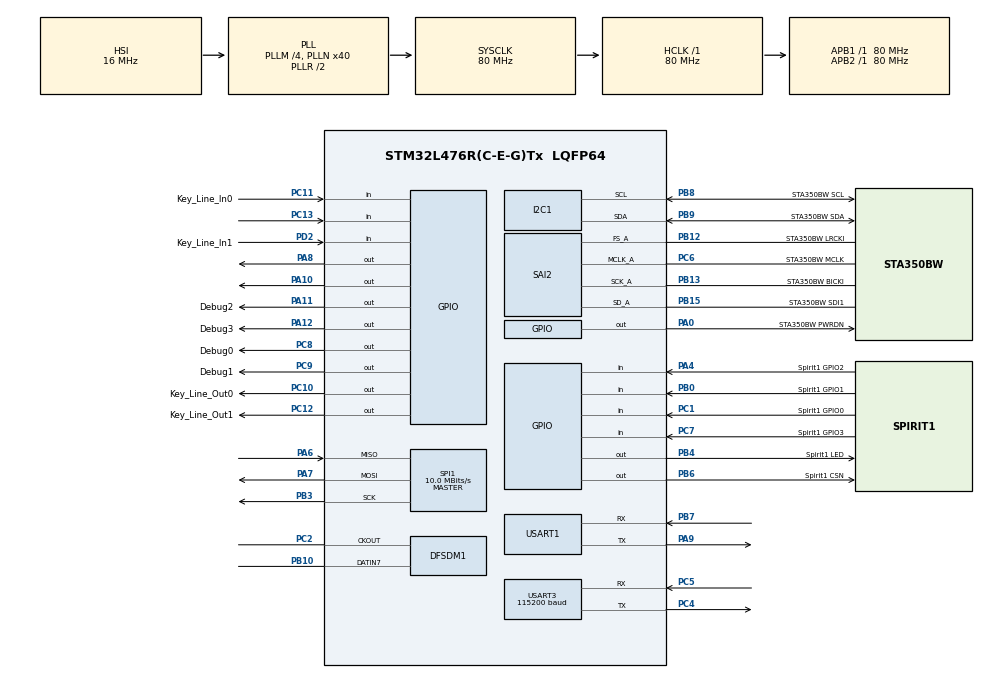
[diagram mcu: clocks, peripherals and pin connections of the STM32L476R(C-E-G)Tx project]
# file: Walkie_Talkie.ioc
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DFSDM1.Divider=24
DFSDM1.DmaMode_reg_FIL0=ENABLE
DFSDM1.DmaMode_reg_FIL1=ENABLE
DFSDM1.FastMode_reg_FIL0=ENABLE
DFSDM1.FastMode_reg_FIL1=ENABLE
DFSDM1.FilterOrder_CH6=DFSDM_CHANNEL_SINC1_ORDER
DFSDM1.FilterOrder_CH7=DFSDM_CHANNEL_SINC1_ORDER
DFSDM1.Filter_injChannel7_FIL3=__NULL
DFSDM1.Filter_regChannel_FIL0=DFSDM_CHANNEL_6
DFSDM1.Filter_regChannel_FIL1=DFSDM_CHANNEL_7
DFSDM1.Filter_regChannel_FIL2=__NULL
DFSDM1.Filter_regChannel_FIL3=__NULL
DFSDM1.Fosr_FIL0=22
DFSDM1.Fosr_FIL1=22
DFSDM1.Iosr_FIL0=3
DFSDM1.Iosr_FIL1=3
DFSDM1.Oversampling_CH6=10
DFSDM1.Oversampling_CH7=10
DFSDM1.RightBitShift_CH6=0
DFSDM1.RightBitShift_CH7=0
DFSDM1.SincOrder_FIL0=DFSDM_FILTER_SINC5_ORDER
DFSDM1.SincOrder_FIL1=DFSDM_FILTER_SINC5_ORDER
DFSDM1.Type_spi_CH7=DFSDM_CHANNEL_SPI_FALLING
Dma.DFSDM1_FLT0.0.Direction=DMA_PERIPH_TO_MEMORY
Dma.DFSDM1_FLT0.0.Instance=DMA1_Channel4
Dma.DFSDM1_FLT0.0.MemDataAlignment=DMA_MDATAALIGN_WORD
Dma.DFSDM1_FLT0.0.MemInc=DMA_MINC_ENABLE
Dma.DFSDM1_FLT0.0.Mode=DMA_CIRCULAR
Dma.DFSDM1_FLT0.0.PeriphDataAlignment=DMA_PDATAALIGN_WORD
Dma.DFSDM1_FLT0.0.PeriphInc=DMA_PINC_DISABLE
Dma.DFSDM1_FLT0.0.Priority=DMA_PRIORITY_MEDIUM
Dma.DFSDM1_FLT1.1.Direction=DMA_PERIPH_TO_MEMORY
Dma.DFSDM1_FLT1.1.Instance=DMA1_Channel5
Dma.DFSDM1_FLT1.1.MemDataAlignment=DMA_MDATAALIGN_WORD
Dma.DFSDM1_FLT1.1.MemInc=DMA_MINC_ENABLE
Dma.DFSDM1_FLT1.1.Mode=DMA_CIRCULAR
Dma.DFSDM1_FLT1.1.PeriphDataAlignment=DMA_PDATAALIGN_WORD
Dma.DFSDM1_FLT1.1.PeriphInc=DMA_PINC_DISABLE
Dma.DFSDM1_FLT1.1.Priority=DMA_PRIORITY_MEDIUM
Dma.Request0=DFSDM1_FLT0
Dma.Request1=DFSDM1_FLT1
Dma.Request2=SPI1_RX
Dma.Request3=SPI1_TX
Dma.Request4=USART3_RX
Dma.Request5=USART3_TX
Dma.Request6=USART1_RX
Dma.Request7=USART1_TX
Dma.Request8=SAI2_A
Dma.SAI2_A.8.Direction=DMA_MEMORY_TO_PERIPH
Dma.SAI2_A.8.Instance=DMA1_Channel6
Dma.SAI2_A.8.MemDataAlignment=DMA_MDATAALIGN_HALFWORD
Dma.SAI2_A.8.MemInc=DMA_MINC_ENABLE
Dma.SAI2_A.8.Mode=DMA_CIRCULAR
Dma.SAI2_A.8.PeriphDataAlignment=DMA_PDATAALIGN_HALFWORD
Dma.SAI2_A.8.PeriphInc=DMA_PINC_DISABLE
Dma.SAI2_A.8.Priority=DMA_PRIORITY_MEDIUM
Dma.SPI1_RX.2.Direction=DMA_PERIPH_TO_MEMORY
Dma.SPI1_RX.2.Instance=DMA2_Channel3
Dma.SPI1_RX.2.MemDataAlignment=DMA_MDATAALIGN_BYTE
Dma.SPI1_RX.2.MemInc=DMA_MINC_ENABLE
Dma.SPI1_RX.2.Mode=DMA_CIRCULAR
Dma.SPI1_RX.2.PeriphDataAlignment=DMA_PDATAALIGN_BYTE
Dma.SPI1_RX.2.PeriphInc=DMA_PINC_DISABLE
Dma.SPI1_RX.2.Priority=DMA_PRIORITY_MEDIUM
Dma.SPI1_TX.3.Direction=DMA_MEMORY_TO_PERIPH
Dma.SPI1_TX.3.Instance=DMA2_Channel4
Dma.SPI1_TX.3.MemDataAlignment=DMA_MDATAALIGN_BYTE
Dma.SPI1_TX.3.MemInc=DMA_MINC_ENABLE
Dma.SPI1_TX.3.Mode=DMA_NORMAL
Dma.SPI1_TX.3.PeriphDataAlignment=DMA_PDATAALIGN_BYTE
Dma.SPI1_TX.3.PeriphInc=DMA_PINC_DISABLE
Dma.SPI1_TX.3.Priority=DMA_PRIORITY_LOW
Dma.USART1_RX.6.Direction=DMA_PERIPH_TO_MEMORY
Dma.USART1_RX.6.Instance=DMA2_Channel7
Dma.USART1_RX.6.MemDataAlignment=DMA_MDATAALIGN_BYTE
Dma.USART1_RX.6.MemInc=DMA_MINC_ENABLE
Dma.USART1_RX.6.Mode=DMA_CIRCULAR
Dma.USART1_RX.6.PeriphDataAlignment=DMA_PDATAALIGN_BYTE
Dma.USART1_RX.6.PeriphInc=DMA_PINC_DISABLE
Dma.USART1_RX.6.Priority=DMA_PRIORITY_MEDIUM
Dma.USART1_TX.7.Direction=DMA_MEMORY_TO_PERIPH
Dma.USART1_TX.7.Instance=DMA2_Channel6
Dma.USART1_TX.7.MemDataAlignment=DMA_MDATAALIGN_BYTE
Dma.USART1_TX.7.MemInc=DMA_MINC_ENABLE
Dma.USART1_TX.7.Mode=DMA_NORMAL
Dma.USART1_TX.7.PeriphDataAlignment=DMA_PDATAALIGN_BYTE
Dma.USART1_TX.7.PeriphInc=DMA_PINC_DISABLE
Dma.USART1_TX.7.Priority=DMA_PRIORITY_MEDIUM
Dma.USART3_RX.4.Direction=DMA_PERIPH_TO_MEMORY
Dma.USART3_RX.4.Instance=DMA1_Channel3
Dma.USART3_RX.4.MemDataAlignment=DMA_MDATAALIGN_BYTE
Dma.USART3_RX.4.MemInc=DMA_MINC_ENABLE
Dma.USART3_RX.4.Mode=DMA_NORMAL
Dma.USART3_RX.4.PeriphDataAlignment=DMA_PDATAALIGN_BYTE
Dma.USART3_RX.4.PeriphInc=DMA_PINC_DISABLE
Dma.USART3_RX.4.Priority=DMA_PRIORITY_LOW
Dma.USART3_TX.5.Direction=DMA_MEMORY_TO_PERIPH
Dma.USART3_TX.5.Instance=DMA1_Channel2
Dma.USART3_TX.5.MemDataAlignment=DMA_MDATAALIGN_BYTE
Dma.USART3_TX.5.MemInc=DMA_MINC_ENABLE
Dma.USART3_TX.5.Mode=DMA_NORMAL
Dma.USART3_TX.5.PeriphDataAlignment=DMA_PDATAALIGN_BYTE
Dma.USART3_TX.5.PeriphInc=DMA_PINC_DISABLE
Dma.USART3_TX.5.Priority=DMA_PRIORITY_LOW
I2C1.Timing=0x10909CEC
Mcu.Family=STM32L4
Mcu.Name=STM32L476R(C-E-G)Tx
Mcu.Package=LQFP64
NVIC.DMA1_Channel2_IRQn=true\:0\:0\:false\:false\:true
NVIC.DMA1_Channel3_IRQn=true\:0\:0\:false\:false\:true
NVIC.DMA1_Channel4_IRQn=true\:0\:0\:false\:false\:true
NVIC.DMA1_Channel5_IRQn=true\:0\:0\:false\:false\:true
NVIC.DMA1_Channel6_IRQn=true\:0\:0\:false\:false\:true
NVIC.DMA2_Channel3_IRQn=true\:0\:0\:false\:false\:true
NVIC.DMA2_Channel4_IRQn=true\:0\:0\:false\:false\:true
NVIC.DMA2_Channel6_IRQn=true\:0\:0\:false\:false\:true
NVIC.DMA2_Channel7_IRQn=true\:0\:0\:false\:false\:true
NVIC.PriorityGroup=NVIC_PRIORITYGROUP_4
NVIC.SAI2_IRQn=true\:0\:0\:false\:false\:true
NVIC.TIM2_IRQn=true\:0\:0\:false\:false\:true
NVIC.TIM6_DAC_IRQn=true\:0\:0\:false\:false\:true
NVIC.TIM7_IRQn=true\:0\:0\:false\:false\:true
NVIC.TIM8_UP_IRQn=true\:0\:0\:false\:false\:true
NVIC.USART1_IRQn=true\:0\:0\:false\:false\:true
NVIC.USART3_IRQn=true\:0\:0\:false\:false\:true
PA0.GPIO_Label=STA350BW PWRDN
PA0.Signal=GPIO_Output
PA10.Signal=GPIO_Output
PA11.GPIO_Label=Debug2
PA11.Signal=GPIO_Output
PA12.GPIO_Label=Debug3
PA12.Signal=GPIO_Output
PA13.Mode=Serial_Wire
PA13.Signal=SYS_JTMS-SWDIO
PA14.Mode=Serial_Wire
PA14.Signal=SYS_JTCK-SWCLK
PA4.GPIO_Label=Spirit1 GPIO2
PA4.Signal=GPIO_Input
PA6.Mode=Full_Duplex_Master
PA6.Signal=SPI1_MISO
PA7.Mode=Full_Duplex_Master
PA7.Signal=SPI1_MOSI
PA8.Signal=GPIO_Output
PA9.Mode=Asynchronous
PA9.Signal=USART1_TX
PB0.GPIO_Label=Spirit1 GPIO1
PB0.Signal=GPIO_Input
PB10.Signal=S_DATAIN7DFSDM1
PB12.GPIO_Label=STA350BW LRCKI
PB12.Mode=SAI_A_MasterWithClock
PB12.Signal=SAI2_FS_A
PB13.GPIO_Label=STA350BW BICKI
PB13.Mode=SAI_A_MasterWithClock
PB13.Signal=SAI2_SCK_A
PB15.GPIO_Label=STA350BW SDI1
PB15.Mode=SAI_A_MasterWithClock
PB15.Signal=SAI2_SD_A
PB3.Mode=Full_Duplex_Master
PB3.Signal=SPI1_SCK
PB4.GPIO_Label=Spirit1 LED
PB4.Signal=GPIO_Output
PB6.GPIO_Label=Spirit1 CSN
PB6.Signal=GPIO_Output
PB7.Mode=Asynchronous
PB7.Signal=USART1_RX
PB8.GPIO_Label=STA350BW SCL
PB8.Mode=I2C
PB8.Signal=I2C1_SCL
PB9.GPIO_Label=STA350BW SDA
PB9.Mode=I2C
PB9.Signal=I2C1_SDA
PC1.GPIO_Label=Spirit1 GPIO0
PC1.Signal=GPIO_Input
PC10.GPIO_Label=Key_Line_Out0
PC10.Signal=GPIO_Output
PC11.GPIO_Label=Key_Line_In0
PC11.GPIO_PuPd=GPIO_PULLUP
PC11.Signal=GPIO_Input
PC12.GPIO_Label=Key_Line_Out1
PC12.Signal=GPIO_Output
PC13.GPIO_PuPd=GPIO_PULLUP
PC13.Signal=GPIO_Input
PC2.Signal=S_CKOUTDFSDM1
PC4.Mode=Asynchronous
PC4.Signal=USART3_TX
PC5.Mode=Asynchronous
PC5.Signal=USART3_RX
PC6.GPIO_Label=STA350BW MCLK
PC6.Mode=SAI_A_MasterWithClock
PC6.Signal=SAI2_MCLK_A
PC7.GPIO_Label=Spirit1 GPIO3
PC7.Signal=GPIO_Input
PC8.GPIO_Label=Debug0
PC8.Signal=GPIO_Output
PC9.GPIO_Label=Debug1
PC9.Signal=GPIO_Output
PD2.GPIO_Label=Key_Line_In1
PD2.GPIO_PuPd=GPIO_PULLUP
PD2.Signal=GPIO_Input
ProjectManager.HeapSize=0x200
ProjectManager.StackSize=0x400
ProjectManager.TargetToolchain=EWARM
RCC.ADCFreq_Value=16000000
RCC.AHBFreq_Value=80000000
RCC.APB1Freq_Value=80000000
RCC.APB1TimFreq_Value=80000000
RCC.APB2Freq_Value=80000000
RCC.APB2TimFreq_Value=80000000
RCC.CortexFreq_Value=80000000
RCC.DFSDMCLockSelection=RCC_DFSDM1CLKSOURCE_SYSCLK
RCC.HCLKFreq_Value=80000000
RCC.HSE_VALUE=8000000
RCC.HSI_VALUE=16000000
RCC.LSE_VALUE=32768
RCC.MSI_VALUE=4000000
RCC.PLLM=4
RCC.PLLN=40
RCC.PLLSAI2N=86
RCC.PLLSourceVirtual=RCC_PLLSOURCE_HSI
RCC.SAI2CLockSelection=RCC_SAI2CLKSOURCE_PLLSAI2
RCC.SYSCLKFreq_VALUE=80000000
RCC.SYSCLKSource=RCC_SYSCLKSOURCE_PLLCLK
RCC.USBFreq_Value=16000000
RCC.VCOOutputFreq_Value=160000000
SAI2.AudioFrequency-SAI_A_MasterWithClock=SAI_AUDIO_FREQUENCY_48K
SAI2.ErrorAudioFreq-SAI_A_MasterWithClock=-0.01 %
SAI2.InitProtocol-SAI_A_MasterWithClock=Enable
SAI2.Instance-SAI_A_MasterWithClock=SAI$Index_Block_A
SAI2.MClockEnable-SAI_A_MasterWithClock=SAI_MASTERCLOCK_ENABLE
SAI2.RealAudioFreq-SAI_A_MasterWithClock=47.991 KHz
SAI2.VirtualProtocol-SAI_A_BASIC=VM_BASIC_PROTOCOL
SH.S_CKOUTDFSDM1.0=DFSDM1_CKOUT,PDM_SPI_input_from_ch7_and_internal_clock
SH.S_CKOUTDFSDM1.1=DFSDM1_CKOUT,CKOUT
SH.S_CKOUTDFSDM1.2=DFSDM1_CKOUT,PDM_SPI_Input_from_ch67_and_Internal_Clock
SH.S_DATAIN7DFSDM1.0=DFSDM1_DATIN7,PDM_SPI_input_from_ch7_and_internal_clock
SH.S_DATAIN7DFSDM1.1=DFSDM1_DATIN7,PDM_SPI_Input_from_ch67_and_Internal_Clock
SPI1.BaudRatePrescaler=SPI_BAUDRATEPRESCALER_8
SPI1.CLKPhase=SPI_PHASE_1EDGE
SPI1.CalculateBaudRate=10.0 MBits/s
SPI1.DataSize=SPI_DATASIZE_8BIT
SPI1.Mode=SPI_MODE_MASTER
SPI1.NSSPMode=SPI_NSS_PULSE_DISABLE
TIM2.Period=79999
TIM6.Period=9722
TIM7.Period=9999
TIM7.Prescaler=79
TIM8.Period=999
TIM8.Prescaler=79
USART1.WordLength=UART_WORDLENGTH_8B
USART3.BaudRate=115200
USART3.WordLength=UART_WORDLENGTH_8B
VP_SAI2_VP_$IpInstance_SAIA_SAI_BASIC.Mode=SAI_A_BASIC
VP_TIM2_VS_ClockSourceINT.Mode=Internal
VP_TIM6_VS_ClockSourceINT.Mode=Enable_Timer
VP_TIM7_VS_ClockSourceINT.Mode=Enable_Timer
VP_TIM8_VS_ClockSourceINT.Mode=Internal
board=Walkie_Talkie

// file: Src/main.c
/**
  ******************************************************************************
  * File Name          : main.c
  * Description        : Main program body
  ******************************************************************************
  *
  * COPYRIGHT(c) 2016 STMicroelectronics
  *
  * Redistribution and use in source and binary forms, with or without modification,
  * are permitted provided that the following conditions are met:
  *   1. Redistributions of source code must retain the above copyright notice,
  *      this list of conditions and the following disclaimer.
  *   2. Redistributions in binary form must reproduce the above copyright notice,
  *      this list of conditions and the following disclaimer in the documentation
  *      and/or other materials provided with the distribution.
  *   3. Neither the name of STMicroelectronics nor the names of its contributors
  *      may be used to endorse or promote products derived from this software
  *      without specific prior written permission.
  *
  * THIS SOFTWARE IS PROVIDED BY THE COPYRIGHT HOLDERS AND CONTRIBUTORS "AS IS"
  * AND ANY EXPRESS OR IMPLIED WARRANTIES, INCLUDING, BUT NOT LIMITED TO, THE
  * IMPLIED WARRANTIES OF MERCHANTABILITY AND FITNESS FOR A PARTICULAR PURPOSE ARE
  * DISCLAIMED. IN NO EVENT SHALL THE COPYRIGHT HOLDER OR CONTRIBUTORS BE LIABLE
  * FOR ANY DIRECT, INDIRECT, INCIDENTAL, SPECIAL, EXEMPLARY, OR CONSEQUENTIAL
  * DAMAGES (INCLUDING, BUT NOT LIMITED TO, PROCUREMENT OF SUBSTITUTE GOODS OR
  * SERVICES; LOSS OF USE, DATA, OR PROFITS; OR BUSINESS INTERRUPTION) HOWEVER
  * CAUSED AND ON ANY THEORY OF LIABILITY, WHETHER IN CONTRACT, STRICT LIABILITY,
  * OR TORT (INCLUDING NEGLIGENCE OR OTHERWISE) ARISING IN ANY WAY OUT OF THE USE
  * OF THIS SOFTWARE, EVEN IF ADVISED OF THE POSSIBILITY OF SUCH DAMAGE.
  *
  ******************************************************************************
  */
#include "main.h"
#include "stm32l4xx_hal.h"

/* USER CODE BEGIN Includes */
#include <stdio.h>
#include <stdlib.h>
#include <string.h>

#include "SPIRIT1.h"
#include "sta350bw.h"
#include "XiFi.h"
#include "matrix keyboard.h"
#include "Audio.h"
#include "test.h"
#include "opus.h"

/* USER CODE END Includes */

DFSDM_Filter_HandleTypeDef hdfsdm1_filter0;
DFSDM_Filter_HandleTypeDef hdfsdm1_filter1;
DFSDM_Channel_HandleTypeDef hdfsdm1_channel6;
DFSDM_Channel_HandleTypeDef hdfsdm1_channel7;
DMA_HandleTypeDef hdma_dfsdm1_flt0;
DMA_HandleTypeDef hdma_dfsdm1_flt1;

I2C_HandleTypeDef hi2c1;

SAI_HandleTypeDef hsai_BlockA2;
DMA_HandleTypeDef hdma_sai2_a;

SPI_HandleTypeDef hspi1;
DMA_HandleTypeDef hdma_spi1_rx;
DMA_HandleTypeDef hdma_spi1_tx;

TIM_HandleTypeDef htim2;
TIM_HandleTypeDef htim6;
TIM_HandleTypeDef htim7;
TIM_HandleTypeDef htim8;

UART_HandleTypeDef huart1;
UART_HandleTypeDef huart3;
DMA_HandleTypeDef hdma_usart1_rx;
DMA_HandleTypeDef hdma_usart1_tx;
DMA_HandleTypeDef hdma_usart3_rx;
DMA_HandleTypeDef hdma_usart3_tx;

/* USER CODE BEGIN PV */
/* Private variables ---------------------------------------------------------*/

/* USER CODE END PV */

void SystemClock_Config(void);
void Error_Handler(void);
static void MX_GPIO_Init(void);
static void MX_DMA_Init(void);
static void MX_I2C1_Init(void);
static void MX_SAI2_Init(void);
static void MX_SPI1_Init(void);
static void MX_TIM6_Init(void);
static void MX_TIM7_Init(void);
static void MX_DFSDM1_Init(void);
static void MX_USART1_UART_Init(void);
static void MX_USART3_UART_Init(void);
static void MX_TIM2_Init(void);
static void MX_TIM8_Init(void);

/* USER CODE BEGIN PFP */
/* Private function prototypes -----------------------------------------------*/

/* USER CODE END PFP */

/* USER CODE BEGIN 0 */

OpusEncoder* Enc = NULL;
OpusDecoder* Dec = NULL;

uint8_t       Flag_DFSDM_Int[4];
uint16_t      Count;

/* USER CODE END 0 */

int main(void)
{

  /* USER CODE BEGIN 1 */

  //disable all IRQ.
  __disable_irq();

  //Audio Init.
  Audio_Init(&Audio);

  //Communication Init.
  Com_Init(&Com);

  /* Opus Init.
  */
  int application  = OPUS_APPLICATION_AUDIO;
  int err;
  int channels = 1;

  opus_int32 sampling_rate = 48000,
                  bit_rate = 8000;

  //Encoder Create.
  Enc = opus_encoder_create(sampling_rate, channels, application, &err);

  if(err != OPUS_OK)
  {
    while(1);
  }

  /*Signal being encoded is voice*/
  err = opus_encoder_ctl(Enc, OPUS_SET_SIGNAL(OPUS_SIGNAL_VOICE));

  if (err != OPUS_OK)
  {
    while(1);
  }

  /*Bitrate set*/
  err = opus_encoder_ctl(Enc, OPUS_SET_BITRATE(bit_rate));

  if (err != OPUS_OK)
  {
    while(1);
  }

  /*Complexity set*/
  err = opus_encoder_ctl(Enc, OPUS_SET_COMPLEXITY(0));

  if (err != OPUS_OK)
  {
    while(1);
  }

#if 1
  //Decoder Create.
  Dec = opus_decoder_create(sampling_rate, channels, &err);

  if (err != OPUS_OK)
  {
    while(1);
  }
#endif

  /* USER CODE END 1 */

  /* MCU Configuration----------------------------------------------------------*/

  /* Reset of all peripherals, Initializes the Flash interface and the Systick. */
  HAL_Init();

  /* Configure the system clock */
  SystemClock_Config();

  /* Initialize all configured peripherals */
  MX_GPIO_Init();
  MX_DMA_Init();
  MX_I2C1_Init();
  MX_SAI2_Init();
  MX_SPI1_Init();
  MX_TIM6_Init();
  MX_TIM7_Init();
  MX_DFSDM1_Init();
  MX_USART1_UART_Init();
  MX_USART3_UART_Init();
  MX_TIM2_Init();
  MX_TIM8_Init();

  /* USER CODE BEGIN 2 */
  /* Spirit1 Basic Mode Init */
  SPIRIT1_Basic_Init(&Spirit1,&Com);
  Test_Init();

  /* Matrix Keyboard Init */
  matrix_keyport_init(&matrix_key_data);

  //enable all IRQ.
  __enable_irq();

  //Enable Timers.
  HAL_TIM_Base_Start_IT(&htim7);
  HAL_TIM_Base_Start_IT(&htim8);

  //Microphone
  /*
  HAL_DFSDM_FilterRegularStart_DMA(&hdfsdm1_filter0,
                                   &(Audio.Encode.Source_Buffer[0][0]),
                                   Audio_Buffer_Sample_Point
                                  );
  */

  HAL_DFSDM_FilterRegularStart_DMA(&hdfsdm1_filter1,
                                   &(Audio.Encode.Source_Buffer[0]),
                                   Audio_Buffer_Sample_Point
                                  );

  //USART1 Rx DMA Transmit Start.
  HAL_UART_Receive_DMA(&huart1,
                       (uint8_t*)&Audio.Decode.Receive_DMA_Buffer[0],
                       Audio_Buffer_Max
                      );

  //I2S Transmit Start.
  HAL_SAI_Transmit_DMA(&hsai_BlockA2, (uint8_t*)Audio.Decode.Out_Buffer, Audio_Buffer_Out_Point);

  /* STA350BW Init */
  STA350BW_Init(&STA350BW_I2C_Drv,
                0x11,
                STA350BW_Fs_48000,
                NULL
               );

  /* USER CODE END 2 */

  /* Infinite loop */
  /* USER CODE BEGIN WHILE */
  while (1)
  {
    /*Matrix Keyboard.*/
    matrix_key_scan(&matrix_key_data);

#if Audio_Direct == 0

    /* If Key Record Press Down.
    */
    //if(Audio_KEY_Get() == GPIO_PIN_RESET)
    if(1)
    {
      //Pause Speaker DMA.
      ////HAL_SAI_DMAPause(&hsai_BlockA2);

      //Filter1 complete interrupt.
      if(Flag_DFSDM_Int[3])
      {
        Flag_DFSDM_Int[3] = 0;

        //Encode Audio and Send out.
        ////Audio_Encode_Send(&Audio);

#if 1
        HAL_GPIO_WritePin(GPIOA, GPIO_PIN_11, GPIO_PIN_SET);

        //Encode.
        Audio.Encode.Encode_Out_Len = opus_encode(Enc,
                                                  (opus_int16*)Audio_Sin_Data,
                                                  Audio_Buffer_Sample_Point,
                                                  (unsigned char*)&Audio.Encode.Encode_Out_Buffer[0],
                                                  Audio_Buffer_Max
                                                 );
        //Decode.
        Audio.Decode.Decode_Len = opus_decode(Dec,
                                              (const unsigned char*)&Audio.Encode.Encode_Out_Buffer[0],
                                              Audio.Encode.Encode_Out_Len,
                                              (opus_int16*)&Audio.Decode.Decode_Buffer[0],
                                              Audio_Buffer_Sample_Point,
                                              0
                                             );

        /* Copy into 2 Channel I2S Buffer */
        if(Audio.Decode.Decode_Len == Audio_Buffer_Sample_Point)
        {
          uint8_t Temp_Copy;

          for(Temp_Copy = 0; Temp_Copy < Audio_Buffer_Sample_Point; Temp_Copy ++)
          {
            Audio.Decode.Out_Buffer[Temp_Copy * 2]     = Audio.Decode.Decode_Buffer[Temp_Copy];
            Audio.Decode.Out_Buffer[Temp_Copy * 2 + 1] = Audio.Decode.Decode_Buffer[Temp_Copy];
          }
        }

        HAL_GPIO_WritePin(GPIOA, GPIO_PIN_11, GPIO_PIN_RESET);
#endif
      }
    }

    /* *******************************
    ** If Key Record Release.
    **********************************
    */
    else
    {
#if 0
      /* Receive From Spirit */
      Audio.Decode.Receive_Len = Spirit_Rx(&Spirit1,
                                           &Audio.Decode.Receive_Byte_Buffer[0]
                                          );
#endif

      //Receive and Decode.
      ////Audio_Receive_Decode(&Audio);

      //Resume Speaker DMA.
      //HAL_SAI_DMAResume(&hsai_BlockA2);
    }

/* #################################################
*  #if Audio_Direct #else
   #################################################
*/
#else
    ////Audio_Direct_Loop(&Audio);

#endif  //end of #if Audio_Direct

    //Communication Loop
    //Com_Main_Loop(&Com);

    //RX
    //Test_Receive_Buffer();

    //Com_Send_Frame(&Com);

    //Com_Receive_Frame_IRQ(&Com);

    //Receive Simulation.
    //Com_Receive_Simulation_Test(&Com);

    //Update Receive Frame.
    //Com_Receive_Frame_IRQ(&Com);

    //Receive Manage.
    //Com_Receive_Management(&Com);

    //Com_Read_CallBack(&Com);

  /* USER CODE END WHILE */

  }

}

/** System Clock Configuration
*/
void SystemClock_Config(void)
{

  RCC_OscInitTypeDef RCC_OscInitStruct;
  RCC_ClkInitTypeDef RCC_ClkInitStruct;
  RCC_PeriphCLKInitTypeDef PeriphClkInit;

    /**Initializes the CPU, AHB and APB busses clocks
    */
  RCC_OscInitStruct.OscillatorType = RCC_OSCILLATORTYPE_HSI;
  RCC_OscInitStruct.HSIState = RCC_HSI_ON;
  RCC_OscInitStruct.HSICalibrationValue = 16;
  RCC_OscInitStruct.PLL.PLLState = RCC_PLL_ON;
  RCC_OscInitStruct.PLL.PLLSource = RCC_PLLSOURCE_HSI;
  RCC_OscInitStruct.PLL.PLLM = 4;
  RCC_OscInitStruct.PLL.PLLN = 40;
  RCC_OscInitStruct.PLL.PLLP = RCC_PLLP_DIV7;
  RCC_OscInitStruct.PLL.PLLQ = RCC_PLLQ_DIV2;
  RCC_OscInitStruct.PLL.PLLR = RCC_PLLR_DIV2;
  if (HAL_RCC_OscConfig(&RCC_OscInitStruct) != HAL_OK)
  {
    Error_Handler();
  }

    /**Initializes the CPU, AHB and APB busses clocks
    */
  RCC_ClkInitStruct.ClockType = RCC_CLOCKTYPE_HCLK|RCC_CLOCKTYPE_SYSCLK
                              |RCC_CLOCKTYPE_PCLK1|RCC_CLOCKTYPE_PCLK2;
  RCC_ClkInitStruct.SYSCLKSource = RCC_SYSCLKSOURCE_PLLCLK;
  RCC_ClkInitStruct.AHBCLKDivider = RCC_SYSCLK_DIV1;
  RCC_ClkInitStruct.APB1CLKDivider = RCC_HCLK_DIV1;
  RCC_ClkInitStruct.APB2CLKDivider = RCC_HCLK_DIV1;

  if (HAL_RCC_ClockConfig(&RCC_ClkInitStruct, FLASH_LATENCY_4) != HAL_OK)
  {
    Error_Handler();
  }

  PeriphClkInit.PeriphClockSelection = RCC_PERIPHCLK_USART1|RCC_PERIPHCLK_USART3
                              |RCC_PERIPHCLK_SAI2|RCC_PERIPHCLK_I2C1
                              |RCC_PERIPHCLK_DFSDM1;
  PeriphClkInit.Usart1ClockSelection = RCC_USART1CLKSOURCE_PCLK2;
  PeriphClkInit.Usart3ClockSelection = RCC_USART3CLKSOURCE_PCLK1;
  PeriphClkInit.I2c1ClockSelection = RCC_I2C1CLKSOURCE_PCLK1;
  PeriphClkInit.Sai2ClockSelection = RCC_SAI2CLKSOURCE_PLLSAI2;
  PeriphClkInit.Dfsdm1ClockSelection = RCC_DFSDM1CLKSOURCE_SYSCLK;
  PeriphClkInit.PLLSAI2.PLLSAI2Source = RCC_PLLSOURCE_HSI;
  PeriphClkInit.PLLSAI2.PLLSAI2M = 4;
  PeriphClkInit.PLLSAI2.PLLSAI2N = 86;
  PeriphClkInit.PLLSAI2.PLLSAI2P = RCC_PLLP_DIV7;
  PeriphClkInit.PLLSAI2.PLLSAI2R = RCC_PLLR_DIV2;
  PeriphClkInit.PLLSAI2.PLLSAI2ClockOut = RCC_PLLSAI2_SAI2CLK;
  if (HAL_RCCEx_PeriphCLKConfig(&PeriphClkInit) != HAL_OK)
  {
    Error_Handler();
  }

    /**Configure the main internal regulator output voltage
    */
  if (HAL_PWREx_ControlVoltageScaling(PWR_REGULATOR_VOLTAGE_SCALE1) != HAL_OK)
  {
    Error_Handler();
  }

    /**Configure the Systick interrupt time
    */
  HAL_SYSTICK_Config(HAL_RCC_GetHCLKFreq()/1000);

    /**Configure the Systick
    */
  HAL_SYSTICK_CLKSourceConfig(SYSTICK_CLKSOURCE_HCLK);

  /* SysTick_IRQn interrupt configuration */
  HAL_NVIC_SetPriority(SysTick_IRQn, 0, 0);
}

/* DFSDM1 init function */
static void MX_DFSDM1_Init(void)
{

  hdfsdm1_filter0.Instance = DFSDM1_Filter0;
  hdfsdm1_filter0.Init.RegularParam.Trigger = DFSDM_FILTER_SW_TRIGGER;
  hdfsdm1_filter0.Init.RegularParam.FastMode = ENABLE;
  hdfsdm1_filter0.Init.RegularParam.DmaMode = ENABLE;
  hdfsdm1_filter0.Init.FilterParam.SincOrder = DFSDM_FILTER_SINC5_ORDER;
  hdfsdm1_filter0.Init.FilterParam.Oversampling = 22;
  hdfsdm1_filter0.Init.FilterParam.IntOversampling = 3;
  if (HAL_DFSDM_FilterInit(&hdfsdm1_filter0) != HAL_OK)
  {
    Error_Handler();
  }

  hdfsdm1_filter1.Instance = DFSDM1_Filter1;
  hdfsdm1_filter1.Init.RegularParam.Trigger = DFSDM_FILTER_SW_TRIGGER;
  hdfsdm1_filter1.Init.RegularParam.FastMode = ENABLE;
  hdfsdm1_filter1.Init.RegularParam.DmaMode = ENABLE;
  hdfsdm1_filter1.Init.FilterParam.SincOrder = DFSDM_FILTER_SINC5_ORDER;
  hdfsdm1_filter1.Init.FilterParam.Oversampling = 22;
  hdfsdm1_filter1.Init.FilterParam.IntOversampling = 3;
  if (HAL_DFSDM_FilterInit(&hdfsdm1_filter1) != HAL_OK)
  {
    Error_Handler();
  }

  hdfsdm1_channel6.Instance = DFSDM1_Channel6;
  hdfsdm1_channel6.Init.OutputClock.Activation = ENABLE;
  hdfsdm1_channel6.Init.OutputClock.Selection = DFSDM_CHANNEL_OUTPUT_CLOCK_SYSTEM;
  hdfsdm1_channel6.Init.OutputClock.Divider = 24;
  hdfsdm1_channel6.Init.Input.Multiplexer = DFSDM_CHANNEL_EXTERNAL_INPUTS;
  hdfsdm1_channel6.Init.Input.DataPacking = DFSDM_CHANNEL_STANDARD_MODE;
  hdfsdm1_channel6.Init.Input.Pins = DFSDM_CHANNEL_FOLLOWING_CHANNEL_PINS;
  hdfsdm1_channel6.Init.SerialInterface.Type = DFSDM_CHANNEL_SPI_RISING;
  hdfsdm1_channel6.Init.SerialInterface.SpiClock = DFSDM_CHANNEL_SPI_CLOCK_INTERNAL;
  hdfsdm1_channel6.Init.Awd.FilterOrder = DFSDM_CHANNEL_SINC1_ORDER;
  hdfsdm1_channel6.Init.Awd.Oversampling = 10;
  hdfsdm1_channel6.Init.Offset = 0;
  hdfsdm1_channel6.Init.RightBitShift = 8;
  if (HAL_DFSDM_ChannelInit(&hdfsdm1_channel6) != HAL_OK)
  {
    Error_Handler();
  }

  hdfsdm1_channel7.Instance = DFSDM1_Channel7;
  hdfsdm1_channel7.Init.OutputClock.Activation = ENABLE;
  hdfsdm1_channel7.Init.OutputClock.Selection = DFSDM_CHANNEL_OUTPUT_CLOCK_SYSTEM;
  hdfsdm1_channel7.Init.OutputClock.Divider = 24;
  hdfsdm1_channel7.Init.Input.Multiplexer = DFSDM_CHANNEL_EXTERNAL_INPUTS;
  hdfsdm1_channel7.Init.Input.DataPacking = DFSDM_CHANNEL_STANDARD_MODE;
  hdfsdm1_channel7.Init.Input.Pins = DFSDM_CHANNEL_SAME_CHANNEL_PINS;
  hdfsdm1_channel7.Init.SerialInterface.Type = DFSDM_CHANNEL_SPI_FALLING;
  hdfsdm1_channel7.Init.SerialInterface.SpiClock = DFSDM_CHANNEL_SPI_CLOCK_INTERNAL;
  hdfsdm1_channel7.Init.Awd.FilterOrder = DFSDM_CHANNEL_SINC1_ORDER;
  hdfsdm1_channel7.Init.Awd.Oversampling = 10;
  hdfsdm1_channel7.Init.Offset = 0;
  hdfsdm1_channel7.Init.RightBitShift = 8;
  if (HAL_DFSDM_ChannelInit(&hdfsdm1_channel7) != HAL_OK)
  {
    Error_Handler();
  }

  if (HAL_DFSDM_FilterConfigRegChannel(&hdfsdm1_filter0, DFSDM_CHANNEL_6, DFSDM_CONTINUOUS_CONV_ON) != HAL_OK)
  {
    Error_Handler();
  }

  if (HAL_DFSDM_FilterConfigRegChannel(&hdfsdm1_filter1, DFSDM_CHANNEL_7, DFSDM_CONTINUOUS_CONV_ON) != HAL_OK)
  {
    Error_Handler();
  }

}

/* I2C1 init function */
static void MX_I2C1_Init(void)
{

  hi2c1.Instance = I2C1;
  hi2c1.Init.Timing = 0x10909CEC;
  hi2c1.Init.OwnAddress1 = 0;
  hi2c1.Init.AddressingMode = I2C_ADDRESSINGMODE_7BIT;
  hi2c1.Init.DualAddressMode = I2C_DUALADDRESS_DISABLE;
  hi2c1.Init.OwnAddress2 = 0;
  hi2c1.Init.OwnAddress2Masks = I2C_OA2_NOMASK;
  hi2c1.Init.GeneralCallMode = I2C_GENERALCALL_DISABLE;
  hi2c1.Init.NoStretchMode = I2C_NOSTRETCH_DISABLE;
  if (HAL_I2C_Init(&hi2c1) != HAL_OK)
  {
    Error_Handler();
  }

    /**Configure Analogue filter
    */
  if (HAL_I2CEx_ConfigAnalogFilter(&hi2c1, I2C_ANALOGFILTER_ENABLE) != HAL_OK)
  {
    Error_Handler();
  }

}

/* SAI2 init function */
static void MX_SAI2_Init(void)
{

  hsai_BlockA2.Instance = SAI2_Block_A;
  hsai_BlockA2.Init.AudioMode = SAI_MODEMASTER_TX;
  hsai_BlockA2.Init.Synchro = SAI_ASYNCHRONOUS;
  hsai_BlockA2.Init.OutputDrive = SAI_OUTPUTDRIVE_DISABLE;
  hsai_BlockA2.Init.NoDivider = SAI_MASTERDIVIDER_ENABLE;
  hsai_BlockA2.Init.FIFOThreshold = SAI_FIFOTHRESHOLD_EMPTY;
  hsai_BlockA2.Init.AudioFrequency = SAI_AUDIO_FREQUENCY_48K;
  hsai_BlockA2.Init.SynchroExt = SAI_SYNCEXT_DISABLE;
  hsai_BlockA2.Init.MonoStereoMode = SAI_STEREOMODE;
  hsai_BlockA2.Init.CompandingMode = SAI_NOCOMPANDING;
  hsai_BlockA2.Init.TriState = SAI_OUTPUT_NOTRELEASED;
  if (HAL_SAI_InitProtocol(&hsai_BlockA2, SAI_I2S_STANDARD, SAI_PROTOCOL_DATASIZE_16BIT, 2) != HAL_OK)
  {
    Error_Handler();
  }

}

/* SPI1 init function */
static void MX_SPI1_Init(void)
{

  hspi1.Instance = SPI1;
  hspi1.Init.Mode = SPI_MODE_MASTER;
  hspi1.Init.Direction = SPI_DIRECTION_2LINES;
  hspi1.Init.DataSize = SPI_DATASIZE_8BIT;
  hspi1.Init.CLKPolarity = SPI_POLARITY_LOW;
  hspi1.Init.CLKPhase = SPI_PHASE_1EDGE;
  hspi1.Init.NSS = SPI_NSS_SOFT;
  hspi1.Init.BaudRatePrescaler = SPI_BAUDRATEPRESCALER_8;
  hspi1.Init.FirstBit = SPI_FIRSTBIT_MSB;
  hspi1.Init.TIMode = SPI_TIMODE_DISABLE;
  hspi1.Init.CRCCalculation = SPI_CRCCALCULATION_DISABLE;
  hspi1.Init.CRCPolynomial = 7;
  hspi1.Init.CRCLength = SPI_CRC_LENGTH_DATASIZE;
  hspi1.Init.NSSPMode = SPI_NSS_PULSE_DISABLE;
  if (HAL_SPI_Init(&hspi1) != HAL_OK)
  {
    Error_Handler();
  }

}

/* TIM2 init function */
static void MX_TIM2_Init(void)
{

  TIM_ClockConfigTypeDef sClockSourceConfig;
  TIM_MasterConfigTypeDef sMasterConfig;

  htim2.Instance = TIM2;
  htim2.Init.Prescaler = 0;
  htim2.Init.CounterMode = TIM_COUNTERMODE_UP;
  htim2.Init.Period = 79999;
  htim2.Init.ClockDivision = TIM_CLOCKDIVISION_DIV1;
  if (HAL_TIM_Base_Init(&htim2) != HAL_OK)
  {
    Error_Handler();
  }

  sClockSourceConfig.ClockSource = TIM_CLOCKSOURCE_INTERNAL;
  if (HAL_TIM_ConfigClockSource(&htim2, &sClockSourceConfig) != HAL_OK)
  {
    Error_Handler();
  }

  sMasterConfig.MasterOutputTrigger = TIM_TRGO_RESET;
  sMasterConfig.MasterSlaveMode = TIM_MASTERSLAVEMODE_DISABLE;
  if (HAL_TIMEx_MasterConfigSynchronization(&htim2, &sMasterConfig) != HAL_OK)
  {
    Error_Handler();
  }

}

/* TIM6 init function */
static void MX_TIM6_Init(void)
{

  TIM_MasterConfigTypeDef sMasterConfig;

  htim6.Instance = TIM6;
  htim6.Init.Prescaler = 0;
  htim6.Init.CounterMode = TIM_COUNTERMODE_UP;
  htim6.Init.Period = 9722;
  if (HAL_TIM_Base_Init(&htim6) != HAL_OK)
  {
    Error_Handler();
  }

  sMasterConfig.MasterOutputTrigger = TIM_TRGO_RESET;
  sMasterConfig.MasterSlaveMode = TIM_MASTERSLAVEMODE_DISABLE;
  if (HAL_TIMEx_MasterConfigSynchronization(&htim6, &sMasterConfig) != HAL_OK)
  {
    Error_Handler();
  }

}

/* TIM7 init function */
static void MX_TIM7_Init(void)
{

  TIM_MasterConfigTypeDef sMasterConfig;

  htim7.Instance = TIM7;
  htim7.Init.Prescaler = 79;
  htim7.Init.CounterMode = TIM_COUNTERMODE_UP;
  htim7.Init.Period = 9999;
  if (HAL_TIM_Base_Init(&htim7) != HAL_OK)
  {
    Error_Handler();
  }

  sMasterConfig.MasterOutputTrigger = TIM_TRGO_RESET;
  sMasterConfig.MasterSlaveMode = TIM_MASTERSLAVEMODE_DISABLE;
  if (HAL_TIMEx_MasterConfigSynchronization(&htim7, &sMasterConfig) != HAL_OK)
  {
    Error_Handler();
  }

}

/* TIM8 init function */
static void MX_TIM8_Init(void)
{

  TIM_ClockConfigTypeDef sClockSourceConfig;
  TIM_MasterConfigTypeDef sMasterConfig;

  htim8.Instance = TIM8;
  htim8.Init.Prescaler = 79;
  htim8.Init.CounterMode = TIM_COUNTERMODE_UP;
  htim8.Init.Period = 999;
  htim8.Init.ClockDivision = TIM_CLOCKDIVISION_DIV1;
  htim8.Init.RepetitionCounter = 0;
  if (HAL_TIM_Base_Init(&htim8) != HAL_OK)
  {
    Error_Handler();
  }

  sClockSourceConfig.ClockSource = TIM_CLOCKSOURCE_INTERNAL;
  if (HAL_TIM_ConfigClockSource(&htim8, &sClockSourceConfig) != HAL_OK)
  {
    Error_Handler();
  }

  sMasterConfig.MasterOutputTrigger = TIM_TRGO_RESET;
  sMasterConfig.MasterOutputTrigger2 = TIM_TRGO2_RESET;
  sMasterConfig.MasterSlaveMode = TIM_MASTERSLAVEMODE_DISABLE;
  if (HAL_TIMEx_MasterConfigSynchronization(&htim8, &sMasterConfig) != HAL_OK)
  {
    Error_Handler();
  }

}

/* USART1 init function */
static void MX_USART1_UART_Init(void)
{

  huart1.Instance = USART1;
  huart1.Init.BaudRate = 115200;
  huart1.Init.WordLength = UART_WORDLENGTH_8B;
  huart1.Init.StopBits = UART_STOPBITS_1;
  huart1.Init.Parity = UART_PARITY_NONE;
  huart1.Init.Mode = UART_MODE_TX_RX;
  huart1.Init.HwFlowCtl = UART_HWCONTROL_NONE;
  huart1.Init.OverSampling = UART_OVERSAMPLING_16;
  huart1.Init.OneBitSampling = UART_ONE_BIT_SAMPLE_DISABLE;
  huart1.AdvancedInit.AdvFeatureInit = UART_ADVFEATURE_NO_INIT;
  if (HAL_UART_Init(&huart1) != HAL_OK)
  {
    Error_Handler();
  }

}

/* USART3 init function */
static void MX_USART3_UART_Init(void)
{

  huart3.Instance = USART3;
  huart3.Init.BaudRate = 115200;
  huart3.Init.WordLength = UART_WORDLENGTH_8B;
  huart3.Init.StopBits = UART_STOPBITS_1;
  huart3.Init.Parity = UART_PARITY_NONE;
  huart3.Init.Mode = UART_MODE_TX_RX;
  huart3.Init.HwFlowCtl = UART_HWCONTROL_NONE;
  huart3.Init.OverSampling = UART_OVERSAMPLING_16;
  huart3.Init.OneBitSampling = UART_ONE_BIT_SAMPLE_DISABLE;
  huart3.AdvancedInit.AdvFeatureInit = UART_ADVFEATURE_NO_INIT;
  if (HAL_UART_Init(&huart3) != HAL_OK)
  {
    Error_Handler();
  }

}

static void MX_DMA_Init(void)
{
  /* DMA controller clock enable */
  __HAL_RCC_DMA1_CLK_ENABLE();
  __HAL_RCC_DMA2_CLK_ENABLE();

  /* DMA interrupt init */
  /* DMA1_Channel2_IRQn interrupt configuration */
  HAL_NVIC_SetPriority(DMA1_Channel2_IRQn, 0, 0);
  HAL_NVIC_EnableIRQ(DMA1_Channel2_IRQn);
  /* DMA1_Channel3_IRQn interrupt configuration */
  HAL_NVIC_SetPriority(DMA1_Channel3_IRQn, 0, 0);
  HAL_NVIC_EnableIRQ(DMA1_Channel3_IRQn);
  /* DMA1_Channel4_IRQn interrupt configuration */
  HAL_NVIC_SetPriority(DMA1_Channel4_IRQn, 0, 0);
  HAL_NVIC_EnableIRQ(DMA1_Channel4_IRQn);
  /* DMA1_Channel5_IRQn interrupt configuration */
  HAL_NVIC_SetPriority(DMA1_Channel5_IRQn, 0, 0);
  HAL_NVIC_EnableIRQ(DMA1_Channel5_IRQn);
  /* DMA1_Channel6_IRQn interrupt configuration */
  HAL_NVIC_SetPriority(DMA1_Channel6_IRQn, 0, 0);
  HAL_NVIC_EnableIRQ(DMA1_Channel6_IRQn);
  /* DMA2_Channel3_IRQn interrupt configuration */
  HAL_NVIC_SetPriority(DMA2_Channel3_IRQn, 0, 0);
  HAL_NVIC_EnableIRQ(DMA2_Channel3_IRQn);
  /* DMA2_Channel4_IRQn interrupt configuration */
  HAL_NVIC_SetPriority(DMA2_Channel4_IRQn, 0, 0);
  HAL_NVIC_EnableIRQ(DMA2_Channel4_IRQn);
  /* DMA2_Channel6_IRQn interrupt configuration */
  HAL_NVIC_SetPriority(DMA2_Channel6_IRQn, 0, 0);
  HAL_NVIC_EnableIRQ(DMA2_Channel6_IRQn);
  /* DMA2_Channel7_IRQn interrupt configuration */
  HAL_NVIC_SetPriority(DMA2_Channel7_IRQn, 0, 0);
  HAL_NVIC_EnableIRQ(DMA2_Channel7_IRQn);

}

/** Configure pins as
        * Analog
        * Input
        * Output
        * EVENT_OUT
        * EXTI
*/
static void MX_GPIO_Init(void)
{

  GPIO_InitTypeDef GPIO_InitStruct;

  /* GPIO Ports Clock Enable */
  __HAL_RCC_GPIOC_CLK_ENABLE();
  __HAL_RCC_GPIOA_CLK_ENABLE();
  __HAL_RCC_GPIOB_CLK_ENABLE();
  __HAL_RCC_GPIOD_CLK_ENABLE();

  /*Configure GPIO pins : PC13 Key_Line_In0_Pin */
  GPIO_InitStruct.Pin = GPIO_PIN_13|Key_Line_In0_Pin;
  GPIO_InitStruct.Mode = GPIO_MODE_INPUT;
  GPIO_InitStruct.Pull = GPIO_PULLUP;
  HAL_GPIO_Init(GPIOC, &GPIO_InitStruct);

  /*Configure GPIO pins : Spirit1_GPIO0_Pin Spirit1_GPIO3_Pin */
  GPIO_InitStruct.Pin = Spirit1_GPIO0_Pin|Spirit1_GPIO3_Pin;
  GPIO_InitStruct.Mode = GPIO_MODE_INPUT;
  GPIO_InitStruct.Pull = GPIO_NOPULL;
  HAL_GPIO_Init(GPIOC, &GPIO_InitStruct);

  /*Configure GPIO pins : STA350BW_PWRDN_Pin PA8 PA10 Debug2_Pin
                           Debug3_Pin */
  GPIO_InitStruct.Pin = STA350BW_PWRDN_Pin|GPIO_PIN_8|GPIO_PIN_10|Debug2_Pin
                          |Debug3_Pin;
  GPIO_InitStruct.Mode = GPIO_MODE_OUTPUT_PP;
  GPIO_InitStruct.Pull = GPIO_NOPULL;
  GPIO_InitStruct.Speed = GPIO_SPEED_FREQ_LOW;
  HAL_GPIO_Init(GPIOA, &GPIO_InitStruct);

  /*Configure GPIO pin : Spirit1_GPIO2_Pin */
  GPIO_InitStruct.Pin = Spirit1_GPIO2_Pin;
  GPIO_InitStruct.Mode = GPIO_MODE_INPUT;
  GPIO_InitStruct.Pull = GPIO_NOPULL;
  HAL_GPIO_Init(Spirit1_GPIO2_GPIO_Port, &GPIO_InitStruct);

  /*Configure GPIO pin : Spirit1_GPIO1_Pin */
  GPIO_InitStruct.Pin = Spirit1_GPIO1_Pin;
  GPIO_InitStruct.Mode = GPIO_MODE_INPUT;
  GPIO_InitStruct.Pull = GPIO_NOPULL;
  HAL_GPIO_Init(Spirit1_GPIO1_GPIO_Port, &GPIO_InitStruct);

  /*Configure GPIO pins : Debug0_Pin Debug1_Pin Key_Line_Out0_Pin Key_Line_Out1_Pin */
  GPIO_InitStruct.Pin = Debug0_Pin|Debug1_Pin|Key_Line_Out0_Pin|Key_Line_Out1_Pin;
  GPIO_InitStruct.Mode = GPIO_MODE_OUTPUT_PP;
  GPIO_InitStruct.Pull = GPIO_NOPULL;
  GPIO_InitStruct.Speed = GPIO_SPEED_FREQ_LOW;
  HAL_GPIO_Init(GPIOC, &GPIO_InitStruct);

  /*Configure GPIO pin : Key_Line_In1_Pin */
  GPIO_InitStruct.Pin = Key_Line_In1_Pin;
  GPIO_InitStruct.Mode = GPIO_MODE_INPUT;
  GPIO_InitStruct.Pull = GPIO_PULLUP;
  HAL_GPIO_Init(Key_Line_In1_GPIO_Port, &GPIO_InitStruct);

  /*Configure GPIO pins : Spirit1_LED_Pin Spirit1_CSN_Pin */
  GPIO_InitStruct.Pin = Spirit1_LED_Pin|Spirit1_CSN_Pin;
  GPIO_InitStruct.Mode = GPIO_MODE_OUTPUT_PP;
  GPIO_InitStruct.Pull = GPIO_NOPULL;
  GPIO_InitStruct.Speed = GPIO_SPEED_FREQ_LOW;
  HAL_GPIO_Init(GPIOB, &GPIO_InitStruct);

  /*Configure GPIO pin Output Level */
  HAL_GPIO_WritePin(GPIOA, STA350BW_PWRDN_Pin|GPIO_PIN_8|GPIO_PIN_10|Debug2_Pin
                          |Debug3_Pin, GPIO_PIN_RESET);

  /*Configure GPIO pin Output Level */
  HAL_GPIO_WritePin(GPIOC, Debug0_Pin|Debug1_Pin|Key_Line_Out0_Pin|Key_Line_Out1_Pin, GPIO_PIN_RESET);

  /*Configure GPIO pin Output Level */
  HAL_GPIO_WritePin(GPIOB, Spirit1_LED_Pin|Spirit1_CSN_Pin, GPIO_PIN_RESET);

}

/* USER CODE BEGIN 4 */

/* Timer Period Interrupt.
*/
void HAL_TIM_PeriodElapsedCallback(TIM_HandleTypeDef *htim)
{
  if(htim == &htim6)
  {
    if(Com.Flag_Receive_Buffer_Vaild == false)
    {
      //Com.Flag_Buffer_Vaild = true;

      //Com_Receive_Frame_IRQ(&Com);
    }
  }

  //Timer7 Period Interrupt.
  if(htim == &htim7)
  {
    matrix_key_data.flag_scan = true;
  }

  //Timer8 Period Interrupt.
  if(htim == &htim8)
  {
    Audio.Gap_Count ++;

    if(Audio.Gap_Count >= 2)
    {
      Audio.Gap_Count = 0;

      //USART1 Rx DMA Transmit Start.
      HAL_UART_Receive_DMA(&huart1,
                           (uint8_t*)&Audio.Decode.Receive_DMA_Buffer[0],
                           Audio_Buffer_Max
                          );
    }

  }
}

/* UART DMA Half-Completed CallBack.
*/
#if 0
void HAL_UART_RxHalfCpltCallback(UART_HandleTypeDef *huart)
{
  if(huart == &huart1)
  {
    memcpy(&Audio.Decode.Receive_Byte_Buffer[0],//void*dest,
           &Audio.Decode.Receive_DMA_Buffer[0], //const void *src,
           (Audio_Buffer_Max >> 1)              //size_t n
          );

/*
    HAL_UART_Transmit_DMA(&huart3,
                          (uint8_t*)&Audio.Decode.Frame_Buffer[0],
                          (Audio_Buffer_Max >> 1)
                         );
*/
/*
    //Add Frame Count.
    if(Audio.Decode.Frame_Count > Audio_Buffer_Max >> 1)
    {
      Audio.Decode.Frame_Count = 0;
    }
    else
    {
      Audio.Decode.Frame_Count += (Audio_Buffer_Max >> 1);
    }
*/
  }
}
#endif

/* UART DMA Completed CallBack.
*/
void HAL_UART_RxCpltCallback(UART_HandleTypeDef *huart)
{
  if(huart == &huart1)
  {
    //Clear Frame Gap Count.
    Audio.Gap_Count = 0;

#if 0
    memcpy(&Audio.Decode.Receive_Byte_Buffer[Audio_Buffer_Max >> 1], //void*dest,
           &Audio.Decode.Receive_DMA_Buffer[Audio_Buffer_Max >> 1],  //const void *src,
           (Audio_Buffer_Max >> 1)                                   //size_t n
          );
#else
    memcpy(&Audio.Decode.Receive_Byte_Buffer[0], //void*dest,
           &Audio.Decode.Receive_DMA_Buffer[0],  //const void *src,
           Audio_Buffer_Max                      //size_t n
          );

#endif

/*
    HAL_UART_Transmit_DMA(&huart3,
                          (uint8_t*)&Audio.Decode.Frame_Buffer[(Audio_Buffer_Max >> 1)],
                          (Audio_Buffer_Max >> 1)
                         );
*/
/*
    //Add Frame Count.
    if(Audio.Decode.Frame_Count > Audio_Buffer_Max >> 1)
    {
      Audio.Decode.Frame_Count = 0;
    }
    else
    {
      Audio.Decode.Frame_Count += (Audio_Buffer_Max >> 1);
    }
*/
  }
}

/* USER CODE END 4 */

void Error_Handler(void)
{
  while(1)
  {
  }
}

/************************ (C) COPYRIGHT STMicroelectronics *****END OF FILE****/
